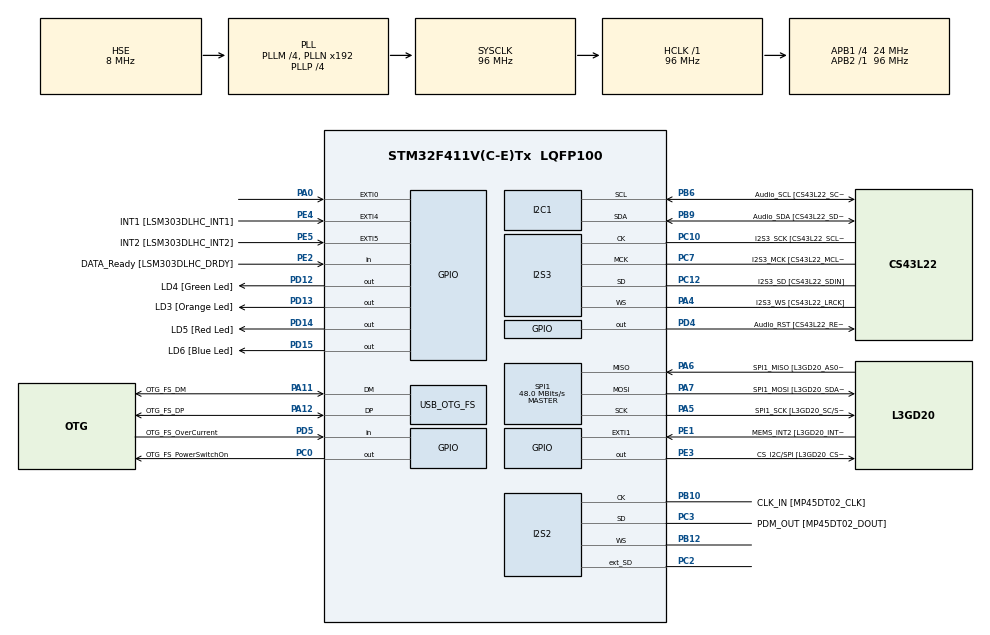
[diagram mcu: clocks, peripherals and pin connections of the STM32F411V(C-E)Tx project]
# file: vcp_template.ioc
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I2S2.AudioFreq=I2S_AUDIOFREQ_96K
I2S2.ErrorAudioFreq=0.15 %
I2S2.FullDuplexMode=I2S_FULLDUPLEXMODE_ENABLE
I2S2.Instance=SPI$Index
I2S2.RealAudioFreq=96.153 KHz
I2S2.VirtualMode=I2S_MODE_MASTER
I2S3.AudioFreq=I2S_AUDIOFREQ_96K
I2S3.ErrorAudioFreq=-6.99 %
I2S3.FullDuplexMode=I2S_FULLDUPLEXMODE_DISABLE
I2S3.Instance=SPI$Index
I2S3.RealAudioFreq=89.285 KHz
I2S3.VirtualMode=I2S_MODE_MASTER
Mcu.Family=STM32F4
Mcu.Name=STM32F411V(C-E)Tx
Mcu.Package=LQFP100
NVIC.OTG_FS_IRQn=true\:0\:0\:false\:false\:true\:true\:true\:true
NVIC.PriorityGroup=NVIC_PRIORITYGROUP_0
PA0-WKUP.GPIO_ModeDefaultEXTI=GPIO_MODE_EVT_RISING
PA0-WKUP.Signal=GPXTI0
PA10.GPIO_Label=OTG_FS_ID
PA10.Signal=USB_OTG_FS_ID
PA11.GPIO_Label=OTG_FS_DM
PA11.Mode=Device_Only
PA11.Signal=USB_OTG_FS_DM
PA12.GPIO_Label=OTG_FS_DP
PA12.Mode=Device_Only
PA12.Signal=USB_OTG_FS_DP
PA13.GPIO_Label=SWDIO
PA13.Mode=Serial_Wire
PA13.Signal=SYS_JTMS-SWDIO
PA14.GPIO_Label=SWCLK
PA14.Mode=Serial_Wire
PA14.Signal=SYS_JTCK-SWCLK
PA4.GPIO_Label=I2S3_WS [CS43L22_LRCK]
PA4.GPIO_Mode=GPIO_MODE_AF_PP
PA4.GPIO_PuPd=GPIO_NOPULL
PA4.GPIO_Speed=GPIO_SPEED_FREQ_LOW
PA4.Mode=Half_Duplex_Master
PA4.Signal=I2S3_WS
PA5.GPIO_Label=SPI1_SCK [L3GD20_SC/SPC]
PA5.Mode=Full_Duplex_Master
PA5.Signal=SPI1_SCK
PA6.GPIO_Label=SPI1_MISO [L3GD20_AS0/SDO]
PA6.Mode=Full_Duplex_Master
PA6.Signal=SPI1_MISO
PA7.GPIO_Label=SPI1_MOSI [L3GD20_SDA/SDI/SDO]
PA7.Mode=Full_Duplex_Master
PA7.Signal=SPI1_MOSI
PA9.GPIO_Label=VBUS_FS
PA9.Signal=USB_OTG_FS_VBUS
PB10.GPIO_Label=CLK_IN [MP45DT02_CLK]
PB10.Mode=Full_Duplex_Master
PB10.Signal=I2S2_CK
PB12.Mode=Full_Duplex_Master
PB12.Signal=I2S2_WS
PB3.GPIO_Label=SWO
PB3.Signal=SYS_JTDO-SWO
PB6.GPIO_Label=Audio_SCL [CS43L22_SCL]
PB6.GPIO_Mode=GPIO_MODE_AF_OD
PB6.GPIO_Pu=GPIO_PULLUP
PB6.GPIO_PuPd=GPIO_NOPULL
PB6.GPIO_Speed=GPIO_SPEED_FREQ_LOW
PB6.Mode=I2C
PB6.Signal=I2C1_SCL
PB9.GPIO_Label=Audio_SDA [CS43L22_SDA]
PB9.GPIO_Mode=GPIO_MODE_AF_OD
PB9.GPIO_Pu=GPIO_PULLUP
PB9.GPIO_PuPd=GPIO_NOPULL
PB9.GPIO_Speed=GPIO_SPEED_FREQ_LOW
PB9.Mode=I2C
PB9.Signal=I2C1_SDA
PC0.GPIO_Label=OTG_FS_PowerSwitchOn
PC0.PinState=GPIO_PIN_SET
PC0.Signal=GPIO_Output
PC10.GPIO_Label=I2S3_SCK [CS43L22_SCLK]
PC10.GPIO_Mode=GPIO_MODE_AF_PP
PC10.GPIO_PuPd=GPIO_NOPULL
PC10.GPIO_Speed=GPIO_SPEED_FREQ_LOW
PC10.Mode=Half_Duplex_Master
PC10.Signal=I2S3_CK
PC12.GPIO_Label=I2S3_SD [CS43L22_SDIN]
PC12.GPIO_Mode=GPIO_MODE_AF_PP
PC12.GPIO_PuPd=GPIO_NOPULL
PC12.GPIO_Speed=GPIO_SPEED_FREQ_LOW
PC12.Mode=Half_Duplex_Master
PC12.Signal=I2S3_SD
PC14-OSC32_IN.GPIO_Label=PC14-OSC32_IN
PC14-OSC32_IN.Signal=RCC_OSC32_IN
PC15-OSC32_OUT.GPIO_Label=PC15-OSC32_OUT
PC15-OSC32_OUT.Signal=RCC_OSC32_OUT
PC2.Mode=Full_Duplex_Master
PC2.Signal=I2S2_ext_SD
PC3.GPIO_Label=PDM_OUT [MP45DT02_DOUT]
PC3.Mode=Full_Duplex_Master
PC3.Signal=I2S2_SD
PC7.GPIO_Label=I2S3_MCK [CS43L22_MCLK]
PC7.GPIO_Mode=GPIO_MODE_AF_PP
PC7.GPIO_PuPd=GPIO_NOPULL
PC7.GPIO_Speed=GPIO_SPEED_FREQ_LOW
PC7.Mode=Master_Clock_Activated
PC7.Signal=I2S3_MCK
PD12.GPIO_Label=LD4 [Green Led]
PD12.GPIO_PuPd=GPIO_NOPULL
PD12.GPIO_Speed=GPIO_SPEED_FREQ_LOW
PD12.Signal=GPIO_Output
PD13.GPIO_Label=LD3 [Orange Led]
PD13.GPIO_PuPd=GPIO_NOPULL
PD13.GPIO_Speed=GPIO_SPEED_FREQ_LOW
PD13.Signal=GPIO_Output
PD14.GPIO_Label=LD5 [Red Led]
PD14.GPIO_PuPd=GPIO_NOPULL
PD14.GPIO_Speed=GPIO_SPEED_FREQ_LOW
PD14.Signal=GPIO_Output
PD15.GPIO_Label=LD6 [Blue Led]
PD15.GPIO_PuPd=GPIO_NOPULL
PD15.GPIO_Speed=GPIO_SPEED_FREQ_LOW
PD15.Signal=GPIO_Output
PD4.GPIO_Label=Audio_RST [CS43L22_RESET]
PD4.Signal=GPIO_Output
PD5.GPIO_Label=OTG_FS_OverCurrent
PD5.Signal=GPIO_Input
PE1.GPIO_Label=MEMS_INT2 [L3GD20_INT2]
PE1.GPIO_ModeDefaultEXTI=GPIO_MODE_EVT_RISING
PE1.Signal=GPXTI1
PE2.GPIO_Label=DATA_Ready [LSM303DLHC_DRDY]
PE2.Signal=GPIO_Input
PE3.GPIO_Label=CS_I2C/SPI [L3GD20_CS_I2C/SPI]
PE3.Signal=GPIO_Output
PE4.GPIO_Label=INT1 [LSM303DLHC_INT1]
PE4.GPIO_ModeDefaultEXTI=GPIO_MODE_EVT_RISING
PE4.Signal=GPXTI4
PE5.GPIO_Label=INT2 [LSM303DLHC_INT2]
PE5.GPIO_ModeDefaultEXTI=GPIO_MODE_EVT_RISING
PE5.Signal=GPXTI5
PH0\ -\ OSC_IN.GPIO_Label=PH0-OSC_IN
PH0\ -\ OSC_IN.Mode=HSE-External-Oscillator
PH0\ -\ OSC_IN.Signal=RCC_OSC_IN
PH1\ -\ OSC_OUT.GPIO_Label=PH1-OSC_OUT
PH1\ -\ OSC_OUT.Mode=HSE-External-Oscillator
PH1\ -\ OSC_OUT.Signal=RCC_OSC_OUT
ProjectManager.HeapSize=0x200
ProjectManager.StackSize=0x400
ProjectManager.TargetToolchain=STM32CubeIDE
RCC.48MHZClocksFreq_Value=48000000
RCC.AHBFreq_Value=96000000
RCC.APB1CLKDivider=RCC_HCLK_DIV4
RCC.APB1Freq_Value=24000000
RCC.APB1TimFreq_Value=48000000
RCC.APB2Freq_Value=96000000
RCC.APB2TimFreq_Value=96000000
RCC.CortexFreq_Value=96000000
RCC.HCLKFreq_Value=96000000
RCC.HSE_VALUE=8000000
RCC.HSI_VALUE=16000000
RCC.PLLI2SM=5
RCC.PLLI2SN=200
RCC.PLLM=4
RCC.PLLP=RCC_PLLP_DIV4
RCC.PLLQ=8
RCC.SYSCLKFreq_VALUE=96000000
RCC.SYSCLKSource=RCC_SYSCLKSOURCE_PLLCLK
RCC.VCOOutputFreq_Value=384000000
SPI1.BaudRatePrescaler=SPI_BAUDRATEPRESCALER_2
SPI1.CalculateBaudRate=48.0 MBits/s
SPI1.Direction=SPI_DIRECTION_2LINES
SPI1.Mode=SPI_MODE_MASTER
SPI1.VirtualType=VM_MASTER
USB_DEVICE.CLASS_NAME_FS=CDC
USB_DEVICE.VirtualMode=Cdc
USB_DEVICE.VirtualModeFS=Cdc_FS
USB_OTG_FS.VirtualMode=Device_Only
VP_USB_DEVICE_VS_USB_DEVICE_CDC_FS.Mode=CDC_FS
board=STM32F411E-DISCO

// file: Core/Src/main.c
/* USER CODE BEGIN Header */
/**
  ******************************************************************************
  * @file           : main.c
  * @brief          : Main program body
  ******************************************************************************
  * @attention
  *
  * Copyright (c) 2024 STMicroelectronics.
  * All rights reserved.
  *
  * This software is licensed under terms that can be found in the LICENSE file
  * in the root directory of this software component.
  * If no LICENSE file comes with this software, it is provided AS-IS.
  *
  ******************************************************************************
  */
/* USER CODE END Header */
#include "main.h"
#include "usb_device.h"

/* USER CODE BEGIN Includes */
#include <stdio.h>
#include <stdbool.h>
#include <string.h>
#include "usbd_cdc_if.h"
/* USER CODE END Includes */

/* USER CODE BEGIN PM */
#define min(a,b)             \
({                           \
    __typeof__ (a) _a = (a); \
    __typeof__ (b) _b = (b); \
    _a < _b ? _a : _b;       \
})
/* USER CODE END PM */

I2C_HandleTypeDef hi2c1;

I2S_HandleTypeDef hi2s2;
I2S_HandleTypeDef hi2s3;

SPI_HandleTypeDef hspi1;

void SystemClock_Config(void);
void PeriphCommonClock_Config(void);
static void MX_GPIO_Init(void);
static void MX_I2C1_Init(void);
static void MX_I2S2_Init(void);
static void MX_I2S3_Init(void);
static void MX_SPI1_Init(void);

int main(void)
{

  /* MCU Configuration--------------------------------------------------------*/

  /* Reset of all peripherals, Initializes the Flash interface and the Systick. */
  HAL_Init();

  /* Configure the system clock */
  SystemClock_Config();

  /* Configure the peripherals common clocks */
  PeriphCommonClock_Config();

  /* Initialize all configured peripherals */
  MX_GPIO_Init();
  MX_I2C1_Init();
  MX_I2S2_Init();
  MX_I2S3_Init();
  MX_SPI1_Init();
  MX_USB_DEVICE_Init();
  /* USER CODE BEGIN 2 */
  HAL_GPIO_WritePin(LD5_GPIO_Port, LD5_Pin, GPIO_PIN_RESET);
  /* USER CODE END 2 */

  /* Infinite loop */
  /* USER CODE BEGIN WHILE */
  int count = 1;
  while (1)
  {
    /* USER CODE END WHILE */
    printf("Hola Mundo %d\r\n", count++);
    HAL_Delay(1000);
  }
}

void SystemClock_Config(void)
{
  RCC_OscInitTypeDef RCC_OscInitStruct = {0};
  RCC_ClkInitTypeDef RCC_ClkInitStruct = {0};

  /** Configure the main internal regulator output voltage
  */
  __HAL_RCC_PWR_CLK_ENABLE();
  __HAL_PWR_VOLTAGESCALING_CONFIG(PWR_REGULATOR_VOLTAGE_SCALE1);

  /** Initializes the RCC Oscillators according to the specified parameters
  * in the RCC_OscInitTypeDef structure.
  */
  RCC_OscInitStruct.OscillatorType = RCC_OSCILLATORTYPE_HSE;
  RCC_OscInitStruct.HSEState = RCC_HSE_ON;
  RCC_OscInitStruct.PLL.PLLState = RCC_PLL_ON;
  RCC_OscInitStruct.PLL.PLLSource = RCC_PLLSOURCE_HSE;
  RCC_OscInitStruct.PLL.PLLM = 4;
  RCC_OscInitStruct.PLL.PLLN = 192;
  RCC_OscInitStruct.PLL.PLLP = RCC_PLLP_DIV4;
  RCC_OscInitStruct.PLL.PLLQ = 8;
  if (HAL_RCC_OscConfig(&RCC_OscInitStruct) != HAL_OK)
  {
    Error_Handler();
  }

  /** Initializes the CPU, AHB and APB buses clocks
  */
  RCC_ClkInitStruct.ClockType = RCC_CLOCKTYPE_HCLK|RCC_CLOCKTYPE_SYSCLK
                              |RCC_CLOCKTYPE_PCLK1|RCC_CLOCKTYPE_PCLK2;
  RCC_ClkInitStruct.SYSCLKSource = RCC_SYSCLKSOURCE_PLLCLK;
  RCC_ClkInitStruct.AHBCLKDivider = RCC_SYSCLK_DIV1;
  RCC_ClkInitStruct.APB1CLKDivider = RCC_HCLK_DIV4;
  RCC_ClkInitStruct.APB2CLKDivider = RCC_HCLK_DIV1;

  if (HAL_RCC_ClockConfig(&RCC_ClkInitStruct, FLASH_LATENCY_3) != HAL_OK)
  {
    Error_Handler();
  }
}

void PeriphCommonClock_Config(void)
{
  RCC_PeriphCLKInitTypeDef PeriphClkInitStruct = {0};

  /** Initializes the peripherals clock
  */
  PeriphClkInitStruct.PeriphClockSelection = RCC_PERIPHCLK_I2S;
  PeriphClkInitStruct.PLLI2S.PLLI2SN = 200;
  PeriphClkInitStruct.PLLI2S.PLLI2SM = 5;
  PeriphClkInitStruct.PLLI2S.PLLI2SR = 2;
  if (HAL_RCCEx_PeriphCLKConfig(&PeriphClkInitStruct) != HAL_OK)
  {
    Error_Handler();
  }
}

static void MX_I2C1_Init(void)
{

  hi2c1.Instance = I2C1;
  hi2c1.Init.ClockSpeed = 100000;
  hi2c1.Init.DutyCycle = I2C_DUTYCYCLE_2;
  hi2c1.Init.OwnAddress1 = 0;
  hi2c1.Init.AddressingMode = I2C_ADDRESSINGMODE_7BIT;
  hi2c1.Init.DualAddressMode = I2C_DUALADDRESS_DISABLE;
  hi2c1.Init.OwnAddress2 = 0;
  hi2c1.Init.GeneralCallMode = I2C_GENERALCALL_DISABLE;
  hi2c1.Init.NoStretchMode = I2C_NOSTRETCH_DISABLE;
  if (HAL_I2C_Init(&hi2c1) != HAL_OK)
  {
    Error_Handler();
  }

}

static void MX_I2S2_Init(void)
{

  hi2s2.Instance = SPI2;
  hi2s2.Init.Mode = I2S_MODE_MASTER_TX;
  hi2s2.Init.Standard = I2S_STANDARD_PHILIPS;
  hi2s2.Init.DataFormat = I2S_DATAFORMAT_16B;
  hi2s2.Init.MCLKOutput = I2S_MCLKOUTPUT_DISABLE;
  hi2s2.Init.AudioFreq = I2S_AUDIOFREQ_96K;
  hi2s2.Init.CPOL = I2S_CPOL_LOW;
  hi2s2.Init.ClockSource = I2S_CLOCK_PLL;
  hi2s2.Init.FullDuplexMode = I2S_FULLDUPLEXMODE_ENABLE;
  if (HAL_I2S_Init(&hi2s2) != HAL_OK)
  {
    Error_Handler();
  }

}

static void MX_I2S3_Init(void)
{

  hi2s3.Instance = SPI3;
  hi2s3.Init.Mode = I2S_MODE_MASTER_TX;
  hi2s3.Init.Standard = I2S_STANDARD_PHILIPS;
  hi2s3.Init.DataFormat = I2S_DATAFORMAT_16B;
  hi2s3.Init.MCLKOutput = I2S_MCLKOUTPUT_ENABLE;
  hi2s3.Init.AudioFreq = I2S_AUDIOFREQ_96K;
  hi2s3.Init.CPOL = I2S_CPOL_LOW;
  hi2s3.Init.ClockSource = I2S_CLOCK_PLL;
  hi2s3.Init.FullDuplexMode = I2S_FULLDUPLEXMODE_DISABLE;
  if (HAL_I2S_Init(&hi2s3) != HAL_OK)
  {
    Error_Handler();
  }

}

static void MX_SPI1_Init(void)
{

  /* SPI1 parameter configuration*/
  hspi1.Instance = SPI1;
  hspi1.Init.Mode = SPI_MODE_MASTER;
  hspi1.Init.Direction = SPI_DIRECTION_2LINES;
  hspi1.Init.DataSize = SPI_DATASIZE_8BIT;
  hspi1.Init.CLKPolarity = SPI_POLARITY_LOW;
  hspi1.Init.CLKPhase = SPI_PHASE_1EDGE;
  hspi1.Init.NSS = SPI_NSS_SOFT;
  hspi1.Init.BaudRatePrescaler = SPI_BAUDRATEPRESCALER_2;
  hspi1.Init.FirstBit = SPI_FIRSTBIT_MSB;
  hspi1.Init.TIMode = SPI_TIMODE_DISABLE;
  hspi1.Init.CRCCalculation = SPI_CRCCALCULATION_DISABLE;
  hspi1.Init.CRCPolynomial = 10;
  if (HAL_SPI_Init(&hspi1) != HAL_OK)
  {
    Error_Handler();
  }

}

static void MX_GPIO_Init(void)
{
  GPIO_InitTypeDef GPIO_InitStruct = {0};

  /* GPIO Ports Clock Enable */
  __HAL_RCC_GPIOE_CLK_ENABLE();
  __HAL_RCC_GPIOC_CLK_ENABLE();
  __HAL_RCC_GPIOH_CLK_ENABLE();
  __HAL_RCC_GPIOA_CLK_ENABLE();
  __HAL_RCC_GPIOB_CLK_ENABLE();
  __HAL_RCC_GPIOD_CLK_ENABLE();

  /*Configure GPIO pin Output Level */
  HAL_GPIO_WritePin(CS_I2C_SPI_GPIO_Port, CS_I2C_SPI_Pin, GPIO_PIN_RESET);

  /*Configure GPIO pin Output Level */
  HAL_GPIO_WritePin(OTG_FS_PowerSwitchOn_GPIO_Port, OTG_FS_PowerSwitchOn_Pin, GPIO_PIN_SET);

  /*Configure GPIO pin Output Level */
  HAL_GPIO_WritePin(GPIOD, LD4_Pin|LD3_Pin|LD5_Pin|LD6_Pin
                          |Audio_RST_Pin, GPIO_PIN_RESET);

  /*Configure GPIO pin : DATA_Ready_Pin */
  GPIO_InitStruct.Pin = DATA_Ready_Pin;
  GPIO_InitStruct.Mode = GPIO_MODE_INPUT;
  GPIO_InitStruct.Pull = GPIO_NOPULL;
  HAL_GPIO_Init(DATA_Ready_GPIO_Port, &GPIO_InitStruct);

  /*Configure GPIO pin : CS_I2C_SPI_Pin */
  GPIO_InitStruct.Pin = CS_I2C_SPI_Pin;
  GPIO_InitStruct.Mode = GPIO_MODE_OUTPUT_PP;
  GPIO_InitStruct.Pull = GPIO_NOPULL;
  GPIO_InitStruct.Speed = GPIO_SPEED_FREQ_LOW;
  HAL_GPIO_Init(CS_I2C_SPI_GPIO_Port, &GPIO_InitStruct);

  /*Configure GPIO pins : INT1_Pin INT2_Pin MEMS_INT2_Pin */
  GPIO_InitStruct.Pin = INT1_Pin|INT2_Pin|MEMS_INT2_Pin;
  GPIO_InitStruct.Mode = GPIO_MODE_EVT_RISING;
  GPIO_InitStruct.Pull = GPIO_NOPULL;
  HAL_GPIO_Init(GPIOE, &GPIO_InitStruct);

  /*Configure GPIO pin : OTG_FS_PowerSwitchOn_Pin */
  GPIO_InitStruct.Pin = OTG_FS_PowerSwitchOn_Pin;
  GPIO_InitStruct.Mode = GPIO_MODE_OUTPUT_PP;
  GPIO_InitStruct.Pull = GPIO_NOPULL;
  GPIO_InitStruct.Speed = GPIO_SPEED_FREQ_LOW;
  HAL_GPIO_Init(OTG_FS_PowerSwitchOn_GPIO_Port, &GPIO_InitStruct);

  /*Configure GPIO pin : PA0 */
  GPIO_InitStruct.Pin = GPIO_PIN_0;
  GPIO_InitStruct.Mode = GPIO_MODE_EVT_RISING;
  GPIO_InitStruct.Pull = GPIO_NOPULL;
  HAL_GPIO_Init(GPIOA, &GPIO_InitStruct);

  /*Configure GPIO pins : LD4_Pin LD3_Pin LD5_Pin LD6_Pin
                           Audio_RST_Pin */
  GPIO_InitStruct.Pin = LD4_Pin|LD3_Pin|LD5_Pin|LD6_Pin
                          |Audio_RST_Pin;
  GPIO_InitStruct.Mode = GPIO_MODE_OUTPUT_PP;
  GPIO_InitStruct.Pull = GPIO_NOPULL;
  GPIO_InitStruct.Speed = GPIO_SPEED_FREQ_LOW;
  HAL_GPIO_Init(GPIOD, &GPIO_InitStruct);

  /*Configure GPIO pin : OTG_FS_OverCurrent_Pin */
  GPIO_InitStruct.Pin = OTG_FS_OverCurrent_Pin;
  GPIO_InitStruct.Mode = GPIO_MODE_INPUT;
  GPIO_InitStruct.Pull = GPIO_NOPULL;
  HAL_GPIO_Init(OTG_FS_OverCurrent_GPIO_Port, &GPIO_InitStruct);

}

/* USER CODE BEGIN 4 */
int _write(int file, char *ptr, int len)
{
  (void)file;
  uint8_t rslt;

  do
  {
    rslt = CDC_Transmit_FS((uint8_t *)ptr, len);
  }
  while(rslt == USBD_BUSY);

  return rslt == USBD_OK ? len : -1;
}

int _read(int file, char *ptr, int len)
{
  (void)file;

  HAL_NVIC_DisableIRQ(OTG_FS_IRQn);

  int xfer_len = min(len, USBD_CDC_IF_rcvd_len);
#pragma GCC diagnostic push
#pragma GCC diagnostic ignored "-Wdiscarded-qualifiers"
  memcpy(ptr, USBD_CDC_IF_rx_ptr, xfer_len);
#pragma GCC diagnostic pop
  USBD_CDC_IF_rx_ptr += xfer_len;
  USBD_CDC_IF_rcvd_len -= xfer_len;

  HAL_NVIC_EnableIRQ(OTG_FS_IRQn);

  return xfer_len;
}

/* USER CODE END 4 */

void Error_Handler(void)
{
  /* USER CODE BEGIN Error_Handler_Debug */
  /* User can add his own implementation to report the HAL error return state */
  __disable_irq();
  HAL_GPIO_WritePin(LD5_GPIO_Port, LD5_Pin, GPIO_PIN_SET);
  while (1)
  {
  }
  /* USER CODE END Error_Handler_Debug */
}
